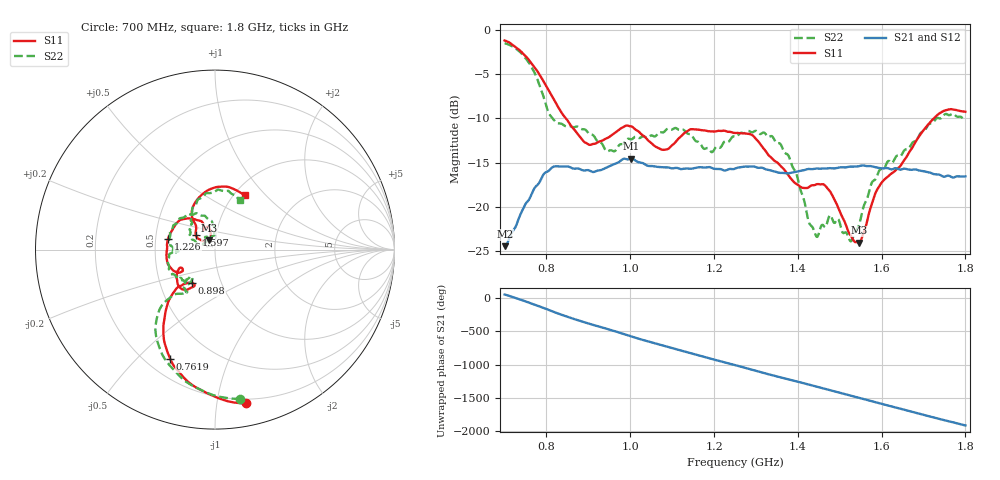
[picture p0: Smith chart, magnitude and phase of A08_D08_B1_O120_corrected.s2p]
! Created with skrf 1.9.0 (http://scikit-rf.org).
# Hz S RI R 50.0
!freq ReS11 ImS11 ReS21 ImS21 ReS12 ImS12 ReS22 ImS22
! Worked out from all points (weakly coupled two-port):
!   1601 points, 700 MHz to 1.8 GHz, reference 50 ohm
!   highest |S21| = -14.56 dB at 1.002 GHz (marker M1); lowest = -24.5 dB at 700.7 MHz (marker M2)
!   lowest |S11| = -24.1 dB at 1.546 GHz (marker M3), VSWR 1.13, Z = 46.3 + j4.79 ohm
!   |S11| at or under -10 dB: 846.4 MHz to 1.724 GHz (878.1 MHz wide, 68.3 % of centre)
!   |S22| runs from -23.9 to -1.5 dB; largest |S21 - S12| = 0.0037
!   S11 on the Smith chart (normalised r, x): 700 MHz: 0.17, -1.21; 761.9 MHz: 0.29, -0.63; 898 MHz: 0.73, -0.29; 1.226 GHz: 0.58, +0.07; 1.597 GHz: 0.80, +0.13; 1.8 GHz: 1.12, +0.77
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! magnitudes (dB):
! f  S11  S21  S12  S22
! 700 MHz  -1.2  -24.5  -24.2  -1.5
! 700.7 MHz  -1.2  -24.5  -24.2  -1.5
! 761.9 MHz  -3.6  -18.9  -18.8  -4.0
! 814.1 MHz  -7.6  -15.5  -15.6  -10.0
! 883.6 MHz  -12.3  -15.8  -15.7  -11.2
! 898 MHz  -12.9  -15.9  -15.9  -11.5
! 945.4 MHz  -12.2  -15.5  -15.5  -13.7
! 1.002 GHz  -10.9  -14.6  -14.7  -12.4
! 1.067 GHz  -13.4  -15.5  -15.5  -11.7
! 1.194 GHz  -11.5  -15.6  -15.6  -13.8
! 1.226 GHz  -11.4  -15.9  -15.8  -12.6
! 1.25 GHz  -11.7  -15.7  -15.6  -12.1
! 1.358 GHz  -15.3  -16.2  -16.1  -12.9
! 1.396 GHz  -17.4  -16.1  -16.0  -16.2
! 1.434 GHz  -17.6  -15.7  -15.7  -22.2
! 1.471 GHz  -18.0  -15.7  -15.7  -21.6
! 1.526 GHz  -23.3  -15.5  -15.5  -23.9
! 1.546 GHz  -24.1  -15.4  -15.4  -22.0
! 1.597 GHz  -17.5  -15.6  -15.6  -15.8
! 1.617 GHz  -16.5  -15.7  -15.6  -14.8
! 1.733 GHz  -9.6  -16.3  -16.4  -10.0
! 1.8 GHz  -9.3  -16.6  -16.6  -10.2
